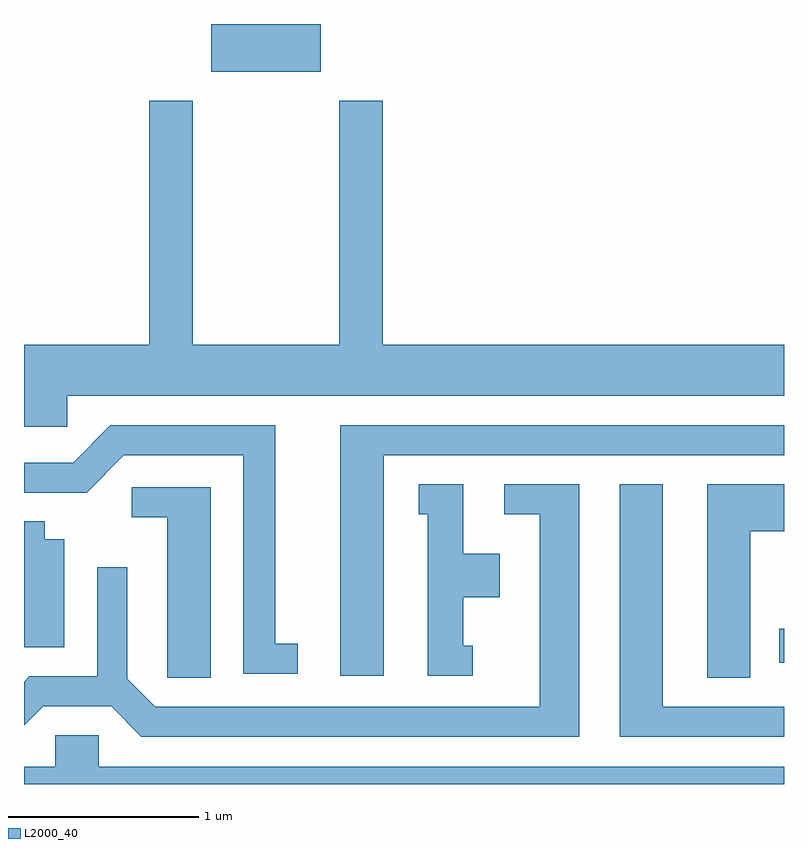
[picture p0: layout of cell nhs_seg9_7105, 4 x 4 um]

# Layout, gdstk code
import gdstk
lib = gdstk.Library(unit=1e-6, precision=1e-09)
def R(c, l, rs):  # rectangles x0, y0, x1, y1
    for r in rs: c.add(gdstk.rectangle(r[:2], r[2:], *l))
def P(c, l, *ps):  # polygons
    for p in ps: c.add(gdstk.Polygon(p, *l))
L2000_40 = (2000, 40)

nhs_seg9_7105 = lib.new_cell('nhs_seg9_7105')
R(nhs_seg9_7105, L2000_40, [(399.586,1997.071,399.611,1997.249), (396.596,2000.181,397.174,2000.432)])
P(nhs_seg9_7105, L2000_40, [(395.839,1998.476),(399.611,1998.476),(399.611,1998.744),(397.499,1998.744),(397.499,2000.029),(397.271,2000.029),(397.271,1998.744),(396.499,1998.744),(396.499,2000.029),(396.271,2000.029),(396.271,1998.744),(395.611,1998.744),(395.611,1998.311),(395.839,1998.311)],
  [(397.053,1997.169),(396.934,1997.169),(396.934,1998.319),(396.064,1998.319),(395.869,1998.124),(395.611,1998.124),(395.611,1997.966),(395.942,1997.966),(396.137,1998.161),(396.766,1998.161),(396.766,1997.011),(397.053,1997.011)],
  [(397.504,1998.161),(399.611,1998.161),(399.611,1998.319),(397.276,1998.319),(397.276,1997.001),(397.504,1997.001)],
  [(398.534,1998.009),(398.138,1998.009),(398.138,1997.851),(398.326,1997.851),(398.326,1996.839),(396.302,1996.839),(396.154,1996.987),(396.154,1997.573),(395.996,1997.573),(395.996,1996.999),(395.639,1996.999),(395.611,1996.971),(395.611,1996.74),(395.712,1996.841),(396.069,1996.841),(396.229,1996.681),(398.534,1996.681)],
  [(399.434,1997.761),(399.611,1997.761),(399.611,1998.009),(399.206,1998.009),(399.206,1996.991),(399.434,1996.991)],
  [(397.973,1997.159),(397.924,1997.159),(397.924,1997.416),(398.114,1997.416),(398.114,1997.644),(397.924,1997.644),(397.924,1998.009),(397.688,1998.009),(397.688,1997.851),(397.736,1997.851),(397.736,1997.001),(397.973,1997.001)],
  [(399.611,1996.839),(398.974,1996.839),(398.974,1998.009),(398.746,1998.009),(398.746,1996.681),(399.611,1996.681)],
  [(396.594,1997.994),(396.178,1997.994),(396.178,1997.836),(396.366,1997.836),(396.366,1996.991),(396.594,1996.991)],
  [(395.824,1997.719),(395.719,1997.719),(395.719,1997.814),(395.611,1997.814),(395.611,1997.151),(395.824,1997.151)],
  [(399.611,1996.524),(396.004,1996.524),(396.004,1996.689),(395.776,1996.689),(395.776,1996.524),(395.611,1996.524),(395.611,1996.432),(399.611,1996.432)])

lib.write_gds('nhs_seg9_7105.gds')
